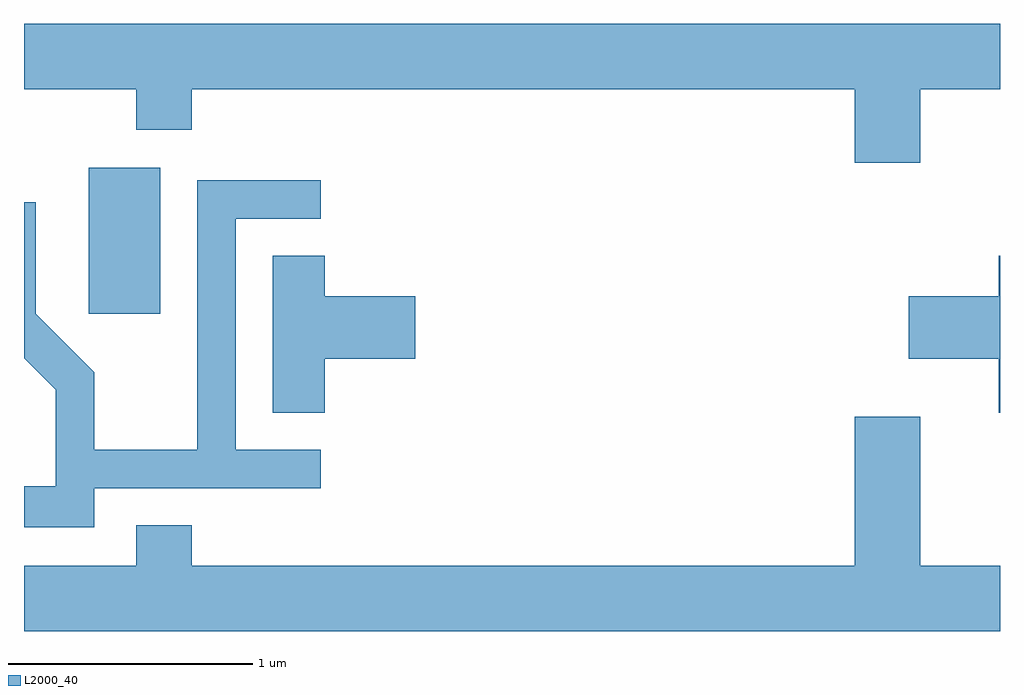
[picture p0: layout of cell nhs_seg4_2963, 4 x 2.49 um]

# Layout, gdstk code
import gdstk
lib = gdstk.Library(unit=1e-6, precision=1e-09)
def R(c, l, rs):  # rectangles x0, y0, x1, y1
    for r in rs: c.add(gdstk.rectangle(r[:2], r[2:], *l))
def P(c, l, *ps):  # polygons
    for p in ps: c.add(gdstk.Polygon(p, *l))
L2000_40 = (2000, 40)

nhs_seg4_2963 = lib.new_cell('nhs_seg4_2963')
R(nhs_seg4_2963, L2000_40, [(271.876,1333.776,272.169,1334.374)])
P(nhs_seg4_2963, L2000_40, [(275.284,1334.696),(275.611,1334.696),(275.611,1334.964),(271.611,1334.964),(271.611,1334.696),(272.071,1334.696),(272.071,1334.531),(272.299,1334.531),(272.299,1334.696),(275.016,1334.696),(275.016,1334.396),(275.284,1334.396)],
  [(271.899,1333.061),(272.828,1333.061),(272.828,1333.219),(272.479,1333.219),(272.479,1334.166),(272.828,1334.166),(272.828,1334.324),(272.321,1334.324),(272.321,1333.219),(271.899,1333.219),(271.899,1333.537),(271.659,1333.777),(271.659,1334.233),(271.611,1334.233),(271.611,1333.594),(271.741,1333.464),(271.741,1333.069),(271.611,1333.069),(271.611,1332.901),(271.899,1332.901)],
  [(275.611,1334.014),(275.606,1334.014),(275.606,1333.849),(275.236,1333.849),(275.236,1333.591),(275.606,1333.591),(275.606,1333.371),(275.611,1333.371)],
  [(272.844,1333.591),(273.214,1333.591),(273.214,1333.849),(272.844,1333.849),(272.844,1334.014),(272.631,1334.014),(272.631,1333.371),(272.844,1333.371)],
  [(275.611,1332.744),(275.284,1332.744),(275.284,1333.354),(275.016,1333.354),(275.016,1332.744),(272.299,1332.744),(272.299,1332.909),(272.071,1332.909),(272.071,1332.744),(271.611,1332.744),(271.611,1332.476),(275.611,1332.476)])

lib.write_gds('nhs_seg4_2963.gds')
